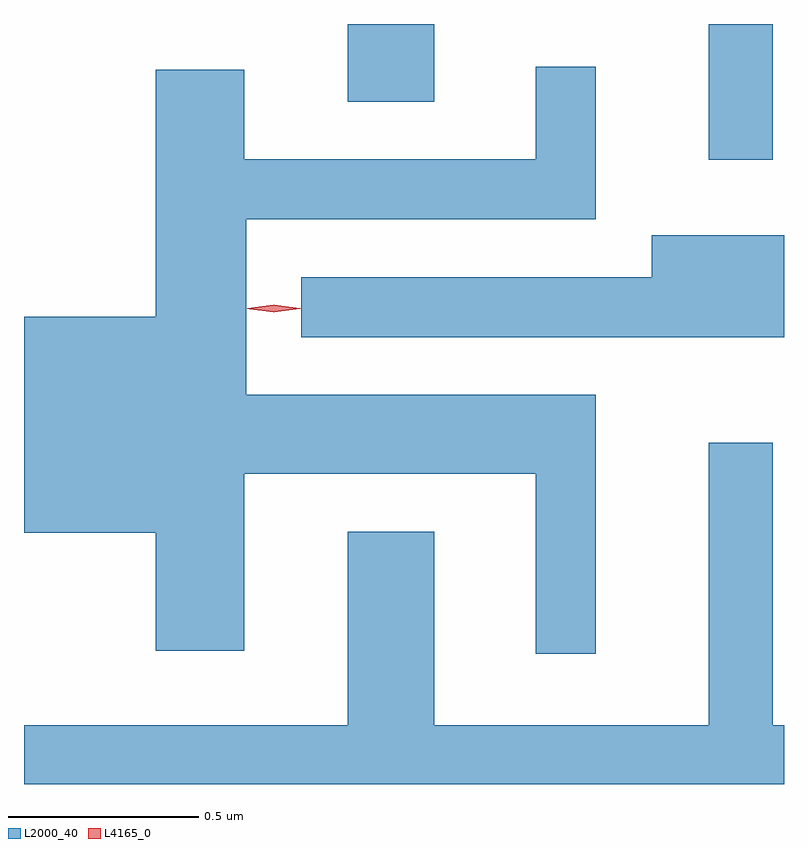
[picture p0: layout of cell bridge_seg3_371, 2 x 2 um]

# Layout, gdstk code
import gdstk
lib = gdstk.Library(unit=1e-6, precision=1e-09)
def R(c, l, rs):  # rectangles x0, y0, x1, y1
    for r in rs: c.add(gdstk.rectangle(r[:2], r[2:], *l))
def P(c, l, *ps):  # polygons
    for p in ps: c.add(gdstk.Polygon(p, *l))
L2000_40 = (2000, 40)
L4165_0 = (4165, 0)

bridge_seg3_371 = lib.new_cell('bridge_seg3_371')
R(bridge_seg3_371, L2000_40, [(666.671,1187.713,666.839,1188.07), (665.721,1187.866,665.949,1188.07)])
P(bridge_seg3_371, L2000_40, [(666.374,1187.094),(665.454,1187.094),(665.454,1187.556),(666.374,1187.556),(666.374,1187.958),(666.216,1187.958),(666.216,1187.714),(665.449,1187.714),(665.449,1187.949),(665.216,1187.949),(665.216,1187.299),(664.869,1187.299),(664.869,1186.731),(665.216,1186.731),(665.216,1186.421),(665.449,1186.421),(665.449,1186.886),(666.216,1186.886),(666.216,1186.413),(666.374,1186.413)],
  [(666.869,1187.514),(666.521,1187.514),(666.521,1187.404),(665.598,1187.404),(665.598,1187.246),(666.869,1187.246)],
  [(666.869,1186.224),(666.839,1186.224),(666.839,1186.968),(666.671,1186.968),(666.671,1186.224),(665.949,1186.224),(665.949,1186.734),(665.721,1186.734),(665.721,1186.224),(664.869,1186.224),(664.869,1186.07),(666.869,1186.07)])
P(bridge_seg3_371, L4165_0, [(665.526,1187.312),(665.457,1187.321),(665.457,1187.321),(665.457,1187.322),(665.526,1187.331),(665.596,1187.322),(665.596,1187.322),(665.596,1187.321)],
  [(665.528,1187.311),(665.463,1187.319),(665.462,1187.32),(665.463,1187.32),(665.527,1187.331),(665.592,1187.322),(665.593,1187.322),(665.592,1187.321)])

lib.write_gds('bridge_seg3_371.gds')
